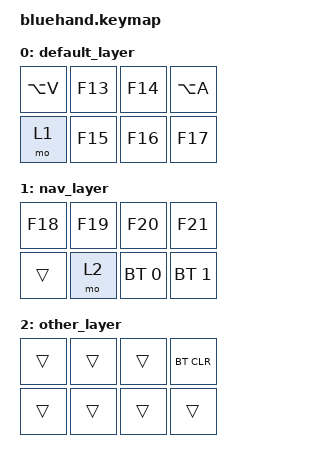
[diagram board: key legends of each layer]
/*
 * Copyright (c) 2024 The ZMK Contributors
 *
 * SPDX-License-Identifier: MIT
 */

#include <behaviors.dtsi>
#include <dt-bindings/zmk/keys.h>
#include <dt-bindings/zmk/bt.h>

/ {
    keymap {
        compatible = "zmk,keymap";

        default_layer {
            // -------------------
            // | ALT+V | F13 | F14 | ALT+A |
            // | MO(1) | F15 | F16 | F17   |
            // ----------------------
            bindings = <
                &kp LA(V) &kp F13 &kp F14 &kp LA(A)
                &mo 1  &kp F15 &kp F16 &kp F17
            >;
        };

        nav_layer {
            // -----------------------
            // | F18 | F19 | F20       | F21 |
            // | -   | MO(2) | BT_SEL 0  | BT_SEL 1|
            // -----------------------
            bindings = <
                &kp F18 &kp F19 &kp F20 &kp F21
                &trans  &mo 2  &bt BT_SEL 0  &bt BT_SEL 1
            >;
        };

        other_layer {
            // -----------------------
            // | - | - | - | BT_CLR SEL |
            // | - | - | - | -         |
            // -----------------------
            bindings = <
                &trans &trans &trans &bt BT_CLR
                &trans &trans &trans &trans
            >;
        };
    };
};
